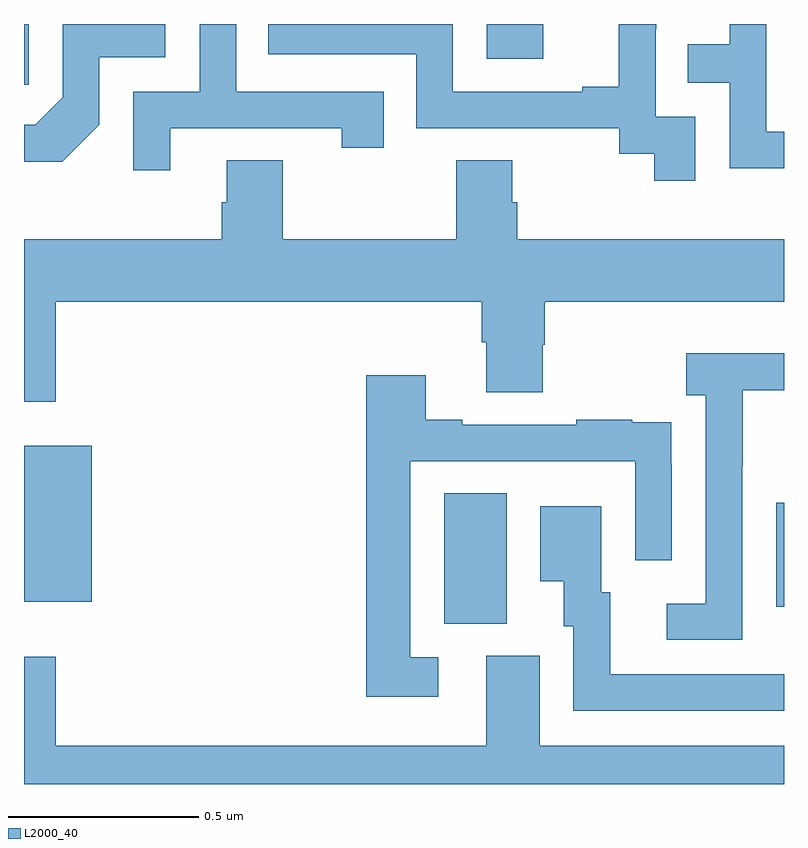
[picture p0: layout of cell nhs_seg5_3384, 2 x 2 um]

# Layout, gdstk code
import gdstk
lib = gdstk.Library(unit=1e-6, precision=1e-09)
def R(c, l, rs):  # rectangles x0, y0, x1, y1
    for r in rs: c.add(gdstk.rectangle(r[:2], r[2:], *l))
def P(c, l, *ps):  # polygons
    for p in ps: c.add(gdstk.Polygon(p, *l))
L2000_40 = (2000, 40)

nhs_seg5_3384 = lib.new_cell('nhs_seg5_3384')
R(nhs_seg5_3384, L2000_40, [(157.106,881.221,157.27,881.564), (157.979,881.265,158,881.539), (156,881.279,156.178,881.689), (156,882.639,156.012,882.799), (157.218,882.708,157.366,882.799)])
P(nhs_seg5_3384, L2000_40, [(156.385,882.525),(156.836,882.525),(156.836,882.474),(156.947,882.474),(156.947,882.621),(156.558,882.621),(156.558,882.799),(156.462,882.799),(156.462,882.621),(156.288,882.621),(156.288,882.414),(156.385,882.414)],
  [(156.198,882.534),(156.198,882.711),(156.372,882.711),(156.372,882.799),(156.102,882.799),(156.102,882.606),(156.03,882.534),(156,882.534),(156,882.437),(156.1,882.437)],
  [(158,882.516),(157.953,882.516),(157.953,882.799),(157.857,882.799),(157.857,882.746),(157.747,882.746),(157.747,882.645),(157.857,882.645),(157.857,882.42),(158,882.42)],
  [(157.767,882.555),(157.662,882.555),(157.662,882.785),(157.664,882.785),(157.664,882.799),(157.565,882.799),(157.565,882.634),(157.469,882.634),(157.469,882.621),(157.128,882.621),(157.128,882.799),(156.643,882.799),(156.643,882.72),(157.032,882.72),(157.032,882.525),(157.566,882.525),(157.566,882.457),(157.659,882.457),(157.659,882.387),(157.767,882.387)],
  [(156.083,882.068),(157.205,882.068),(157.205,881.962),(157.217,881.962),(157.217,881.83),(157.365,881.83),(157.365,881.955),(157.37,881.955),(157.37,882.068),(158,882.068),(158,882.232),(157.298,882.232),(157.298,882.33),(157.285,882.33),(157.285,882.44),(157.138,882.44),(157.138,882.232),(156.681,882.232),(156.681,882.44),(156.533,882.44),(156.533,882.33),(156.521,882.33),(156.521,882.232),(156,882.232),(156,881.805),(156.083,881.805)],
  [(157.89,881.635),(157.891,881.635),(157.891,881.835),(158,881.835),(158,881.932),(157.743,881.932),(157.743,881.822),(157.794,881.822),(157.794,881.274),(157.692,881.274),(157.692,881.178),(157.89,881.178)],
  [(157.09,881.133),(157.017,881.133),(157.017,881.649),(157.608,881.649),(157.608,881.388),(157.704,881.388),(157.704,881.642),(157.703,881.642),(157.703,881.751),(157.601,881.751),(157.601,881.758),(157.453,881.758),(157.453,881.745),(157.153,881.745),(157.153,881.758),(157.057,881.758),(157.057,881.875),(156.901,881.875),(156.901,881.028),(157.09,881.028)],
  [(158,881.088),(157.543,881.088),(157.543,881.304),(157.519,881.304),(157.519,881.53),(157.358,881.53),(157.358,881.333),(157.421,881.333),(157.421,881.214),(157.446,881.214),(157.446,880.992),(158,880.992)],
  [(158,880.9),(157.357,880.9),(157.357,881.136),(157.217,881.136),(157.217,880.9),(156.083,880.9),(156.083,881.134),(156,881.134),(156,880.799),(158,880.799)])

lib.write_gds('nhs_seg5_3384.gds')
